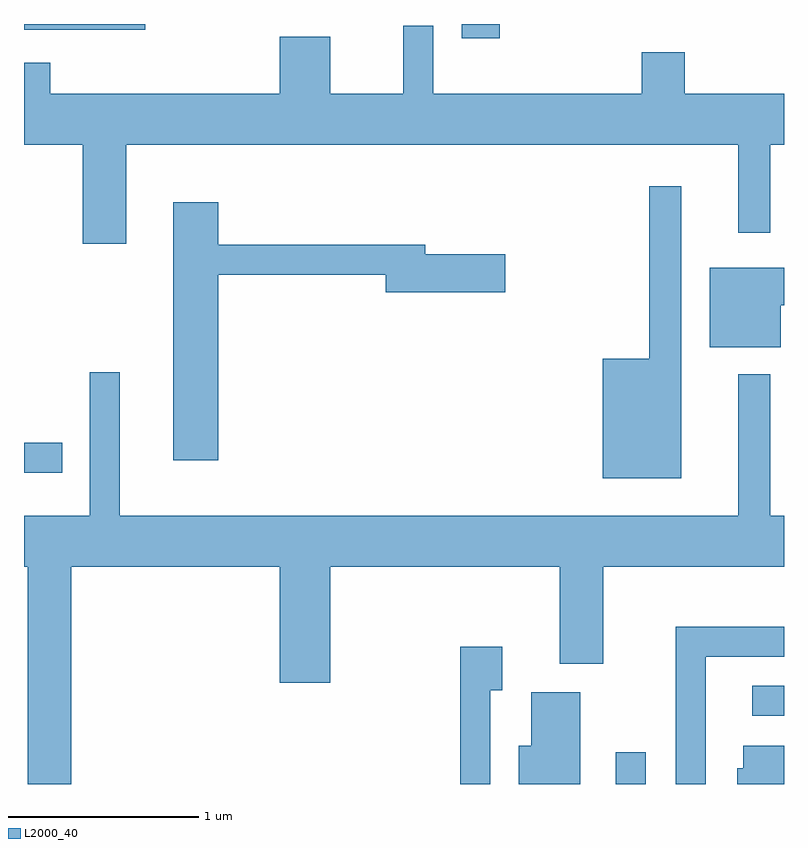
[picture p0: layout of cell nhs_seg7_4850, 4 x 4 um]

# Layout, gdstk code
import gdstk
lib = gdstk.Library(unit=1e-6, precision=1e-09)
def R(c, l, rs):  # rectangles x0, y0, x1, y1
    for r in rs: c.add(gdstk.rectangle(r[:2], r[2:], *l))
def P(c, l, *ps):  # polygons
    for p in ps: c.add(gdstk.Polygon(p, *l))
L2000_40 = (2000, 40)

nhs_seg7_4850 = lib.new_cell('nhs_seg7_4850')
R(nhs_seg7_4850, L2000_40, [(336.726,1744.252,336.884,1744.418), (337.443,1744.611,337.611,1744.769), (333.611,1745.891,333.813,1746.049), (335.916,1748.176,336.114,1748.252), (333.611,1748.221,334.248,1748.252)])
P(nhs_seg7_4850, L2000_40, [(334.149,1747.616),(337.371,1747.616),(337.371,1747.153),(337.539,1747.153),(337.539,1747.616),(337.611,1747.616),(337.611,1747.884),(337.089,1747.884),(337.089,1748.104),(336.861,1748.104),(336.861,1747.884),(335.764,1747.884),(335.764,1748.243),(335.606,1748.243),(335.606,1747.884),(335.224,1747.884),(335.224,1748.184),(334.956,1748.184),(334.956,1747.884),(333.749,1747.884),(333.749,1748.049),(333.611,1748.049),(333.611,1747.616),(333.921,1747.616),(333.921,1747.096),(334.149,1747.096)],
  [(337.069,1747.398),(336.901,1747.398),(336.901,1746.489),(336.656,1746.489),(336.656,1745.861),(337.069,1745.861)],
  [(334.634,1746.931),(335.516,1746.931),(335.516,1746.841),(336.144,1746.841),(336.144,1747.039),(335.724,1747.039),(335.724,1747.089),(334.634,1747.089),(334.634,1747.314),(334.396,1747.314),(334.396,1745.956),(334.634,1745.956)],
  [(337.594,1746.771),(337.611,1746.771),(337.611,1746.969),(337.221,1746.969),(337.221,1746.551),(337.594,1746.551)],
  [(333.859,1745.396),(334.956,1745.396),(334.956,1744.786),(335.224,1744.786),(335.224,1745.396),(336.431,1745.396),(336.431,1744.886),(336.659,1744.886),(336.659,1745.396),(337.611,1745.396),(337.611,1745.664),(337.539,1745.664),(337.539,1746.408),(337.371,1746.408),(337.371,1745.664),(334.114,1745.664),(334.114,1746.418),(333.956,1746.418),(333.956,1745.664),(333.611,1745.664),(333.611,1745.396),(333.631,1745.396),(333.631,1744.252),(333.859,1744.252)],
  [(337.199,1744.921),(337.611,1744.921),(337.611,1745.079),(337.041,1745.079),(337.041,1744.252),(337.199,1744.252)],
  [(336.064,1744.746),(336.129,1744.746),(336.129,1744.974),(335.906,1744.974),(335.906,1744.252),(336.064,1744.252)],
  [(336.539,1744.734),(336.281,1744.734),(336.281,1744.454),(336.216,1744.454),(336.216,1744.252),(336.539,1744.252)],
  [(337.611,1744.454),(337.396,1744.454),(337.396,1744.334),(337.366,1744.334),(337.366,1744.252),(337.611,1744.252)])

lib.write_gds('nhs_seg7_4850.gds')
